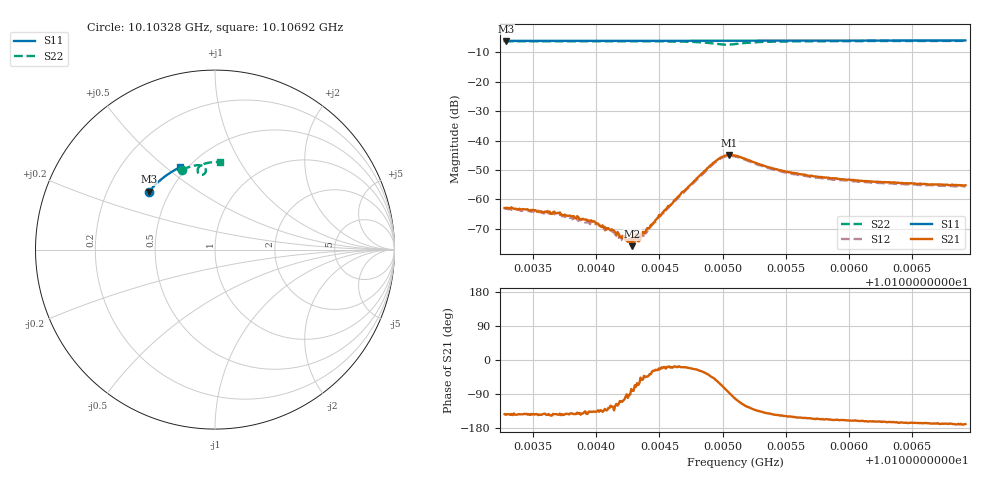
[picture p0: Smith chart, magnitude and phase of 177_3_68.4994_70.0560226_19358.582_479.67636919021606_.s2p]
#  HZ  S  RI  R  50.00
! Rohde & Schwarz Vector Network Analyzer
! Rohde-Schwarz,ZNB20-2Port,1311601062101988,3.16
! Created: UTC 3/20/2024, 5:11:41 PM
! freq[Hz]  re:S11  im:S11  re:S21  im:S21  re:S12  im:S12  re:S22  im:S22
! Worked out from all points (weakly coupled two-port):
!   401 points, 10.10328 GHz to 10.10692 GHz, reference 50 ohm
!   highest |S21| = -44.88 dB at 10.10505 GHz (marker M1); lowest = -75.8 dB at 10.10429 GHz (marker M2)
!   lowest |S11| = -6.2 dB at 10.10328 GHz (marker M3), VSWR 2.91, Z = 19.3 + j16.3 ohm
!   |S11| at or under -10 dB: nowhere
!   |S22| runs from -7.5 to -6.2 dB; largest |S21 - S12| = 0.00057
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1.0103276e10  -0.3679 0.3219  -0.000573 -0.000432  -0.000523 -0.000467  -0.1835 0.4446
1.0103285e10  -0.3674 0.3222  -0.000584 -0.000417  -0.000517 -0.000459  -0.1829 0.4448
1.0103686e10  -0.3516 0.341  -0.000464 -0.00035  -0.000406 -0.000356  -0.1577 0.4553
1.0103886e10  -0.3436 0.35  -0.000354 -0.000285  -0.000337 -0.000325  -0.1446 0.4601
1.0103932e10  -0.3416 0.352  -0.00034 -0.000266  -0.000274 -0.000306  -0.1416 0.4611
1.0103996e10  -0.3389 0.3548  -0.000293 -0.000271  -0.000246 -0.000287  -0.1372 0.4625
1.0104123e10  -0.3336 0.3605  -0.000171 -0.00026  -0.000127 -0.000262  -0.1281 0.4652
1.0104196e10  -0.3303 0.3636  -7.51e-05 -0.000219  -9.16e-05 -0.000224  -0.1227 0.4666
1.0104251e10  -0.3281 0.3659  -3.29e-05 -0.000189  -2.51e-06 -0.000193  -0.1186 0.4674
1.0104287e10  -0.3266 0.3673  2.42e-05 -0.00016  1.34e-05 -0.000201  -0.1157 0.4681
1.0104315e10  -0.3252 0.3687  8.4e-05 -0.000245  9.04e-05 -0.000185  -0.1137 0.4685
1.0104342e10  -0.3242 0.3697  9.46e-05 -0.000174  0.000137 -0.000217  -0.1114 0.469
1.0104387e10  -0.3222 0.3717  0.000189 -0.000194  0.000218 -0.000148  -0.1075 0.4695
1.0104497e10  -0.3172 0.3761  0.000504 -0.000204  0.00047 -0.000151  -0.0978 0.4707
1.0104916e10  -0.2978 0.3927  0.00279 -0.0028  0.00296 -0.00246  -0.0511 0.4427
1.0104989e10  -0.2946 0.3954  0.00213 -0.00472  0.00249 -0.00434  -0.058 0.4232
1.0105053e10  -0.2916 0.3978  0.000278 -0.00569  0.000754 -0.00543  -0.0771 0.4169
1.0105098e10  -0.2894 0.3995  -0.00112 -0.00545  -0.000581 -0.00533  -0.0896 0.423
1.0105408e10  -0.2749 0.411  -0.00266 -0.00192  -0.00242 -0.00209  -0.0803 0.4689
1.0105709e10  -0.2598 0.4215  -0.00228 -0.00108  -0.00207 -0.00124  -0.0546 0.48
1.0106319e10  -0.2284 0.441  -0.00188 -0.000567  -0.00174 -0.000674  -0.0104 0.4873
1.0106921e10  -0.1961 0.4578  -0.00171 -0.000334  -0.0016 -0.000447  0.0301 0.4886
